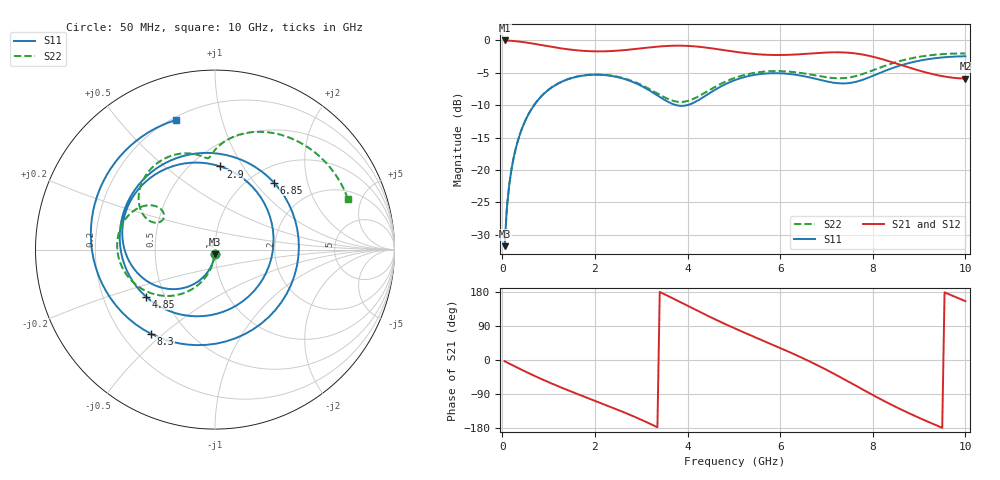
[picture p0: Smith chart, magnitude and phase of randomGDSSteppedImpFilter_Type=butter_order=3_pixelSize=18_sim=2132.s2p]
! freq	dB(S11)	phase(S11)	dB(S12)	phase(S12)
!  dB(S21)	phase(S21)	dB(S22)	phase(S22)
!S-par simulation data
#  GHz  S  DB  R 50
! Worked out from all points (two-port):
!   200 points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, 50 MHz to 10 GHz, reference 50 ohm
!   highest |S21| = -0.01 dB at 50 MHz (marker M1); lowest = -5.9 dB at 10 GHz (marker M2)
!   |S21| within 3 dB of the highest: start of sweep to 8.256 GHz
!   lowest |S11| = -31.7 dB at 50 MHz (marker M3), VSWR 1.05, Z = 49.8 - j2.58 ohm
!   |S11| at or under -10 dB: start of sweep to 686.5 MHz; 3.765 GHz to 3.984 GHz (218.8 MHz wide, 5.65 % of centre)
!   |S22| runs from -31.7 to -2.0 dB; largest |S21 - S12| = 0
!   S11 on the Smith chart (normalised r, x): 50 MHz: 1.00, -0.05; 2.9 GHz: 0.68, +0.80; 4.85 GHz: 0.39, -0.26; 6.85 GHz: 1.28, +1.27; 8.3 GHz: 0.32, -0.46; 10 GHz: 0.22, +0.72
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0.05  -31.73 -93.4  -0.01 -3.1  -0.01 -3.1  -31.74 -92.9
0.2  -19.81 -104.0  -0.07 -12.5  -0.07 -12.5  -19.80 -101.8
0.5  -12.33 -123.9  -0.31 -30.6  -0.31 -30.6  -12.32 -118.4
1.05  -7.34 -157.9  -0.97 -61.2  -0.97 -61.2  -7.32 -145.6
1.75  -5.42 162.0  -1.61 -95.8  -1.61 -95.8  -5.40 -174.4
2.4  -5.53 122.9  -1.62 -126.8  -1.62 -126.8  -5.48 163.2
2.9  -6.66 86.4  -1.30 -152.2  -1.30 -152.2  -6.53 149.4
3.4  -8.72 37.1  -0.93 179.7  -0.93 179.7  -8.39 143.2
3.8  -10.05 -17.1  -0.81 155.5  -0.81 155.5  -9.48 148.4
4.2  -9.36 -75.2  -0.95 130.9  -0.95 130.9  -8.77 155.7
4.85  -6.64 -145.7  -1.57 92.8  -1.57 92.8  -6.26 149.9
5.05  -6.05 -162.8  -1.78 81.8  -1.78 81.8  -5.70 145.1
5.75  -5.08 143.8  -2.23 44.8  -2.23 44.8  -4.76 125.6
6.25  -5.22 104.9  -2.20 18.2  -2.20 18.2  -4.85 111.8
6.7  -5.81 64.2  -2.00 -7.5  -2.00 -7.5  -5.32 101.6
6.85  -6.07 48.6  -1.93 -16.5  -1.93 -16.5  -5.51 99.0
7.45  -6.61 -25.1  -1.89 -55.4  -1.89 -55.4  -5.76 93.4
7.9  -5.76 -83.1  -2.35 -85.8  -2.35 -85.8  -4.89 88.7
8.3  -4.60 -127.1  -3.10 -111.7  -3.10 -111.7  -3.82 79.7
8.35  -4.46 -132.0  -3.21 -114.8  -3.21 -114.8  -3.70 78.3
9.1  -3.01 165.9  -4.85 -158.0  -4.85 -158.0  -2.42 53.5
10  -2.45 106.8  -5.89 155.3  -5.89 155.3  -2.02 20.6
